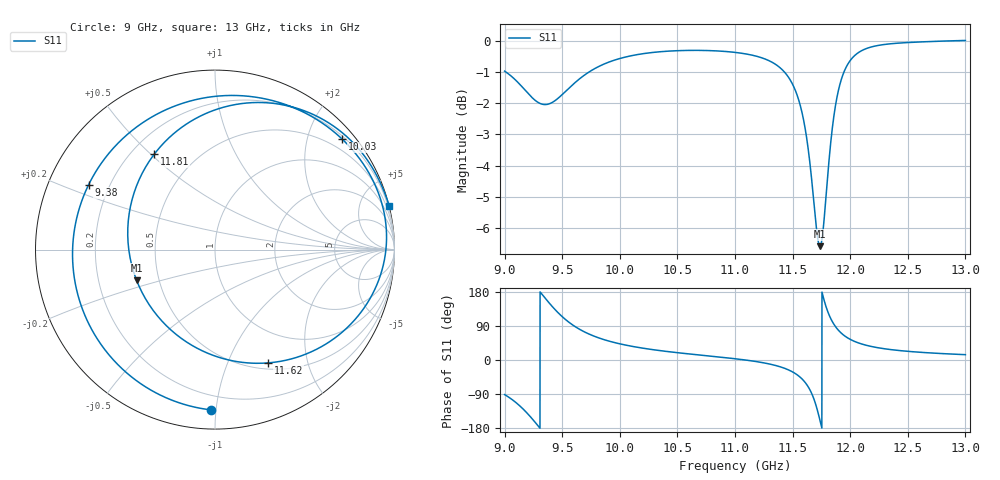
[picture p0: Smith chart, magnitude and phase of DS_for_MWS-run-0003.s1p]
! TOUCHSTONE file generated by CST DESIGN STUDIO
! Date and time: Tue Feb  4 18:02:56 2025
! Project name: C:\Work\MatlabApps\UnitCellOptimizationMatlab\CST\unitcell.cst
! Tree item: Tasks\Sweep1\SPara1\S-Parameters
! Header version: 2024
! Port assignment regex: !\s*Touchstone port\s*([0-9]+)\s*=\s*(CST MWS port|CST DES external port|CST DES block port)\s*(.+)\s* \(\"(.*)\"\)(\s*mode\s*([0-9]+))?.*
! Touchstone port assignment:
! Touchstone port 1 = CST DES external port 1 ("")
# GHz S MA R 50
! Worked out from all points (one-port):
!   4001 points, 9 GHz to 13 GHz, reference 50 ohm
!   lowest |S11| = -6.6 dB at 11.74 GHz (marker M1), VSWR 2.77, Z = 18.6 - j8.22 ohm
!   |S11| at or under -10 dB: nowhere
!   S11 on the Smith chart (normalised r, x): 9 GHz: 0.11, -0.97; 9.38 GHz: 0.12, +0.24; 10.03 GHz: 0.26, +2.65; 11.62 GHz: 0.57, -1.41; 11.81 GHz: 0.29, +0.51; 13 GHz: -0.01, +8.12
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9  0.8935 -91.3
9.09  0.8665 -110.2
9.17  0.8362 -132.2
9.28  0.7987 -169.9
9.38  0.7914 152.9
9.5  0.8196 114.4
9.6  0.8529 90.6
9.731  0.8902 68.7
9.855  0.9157 54.5
10  0.936 42.7
10.025  0.9387 41.0
10.5  0.9633 19.3
11  0.9573 3.3
11.324  0.9227 -12.3
11.5  0.8513 -31.5
11.566  0.7881 -45.5
11.623  0.6968 -65.0
11.683  0.5557 -101.2
11.737  0.4692 -158.5
11.773  0.5163 158.3
11.812  0.6305 122.4
11.846  0.7274 100.7
11.884  0.8095 83.4
11.939  0.884 66.6
12  0.929 54.5
12.181  0.9764 35.9
12.5  0.9926 22.9
13  1 14.0
